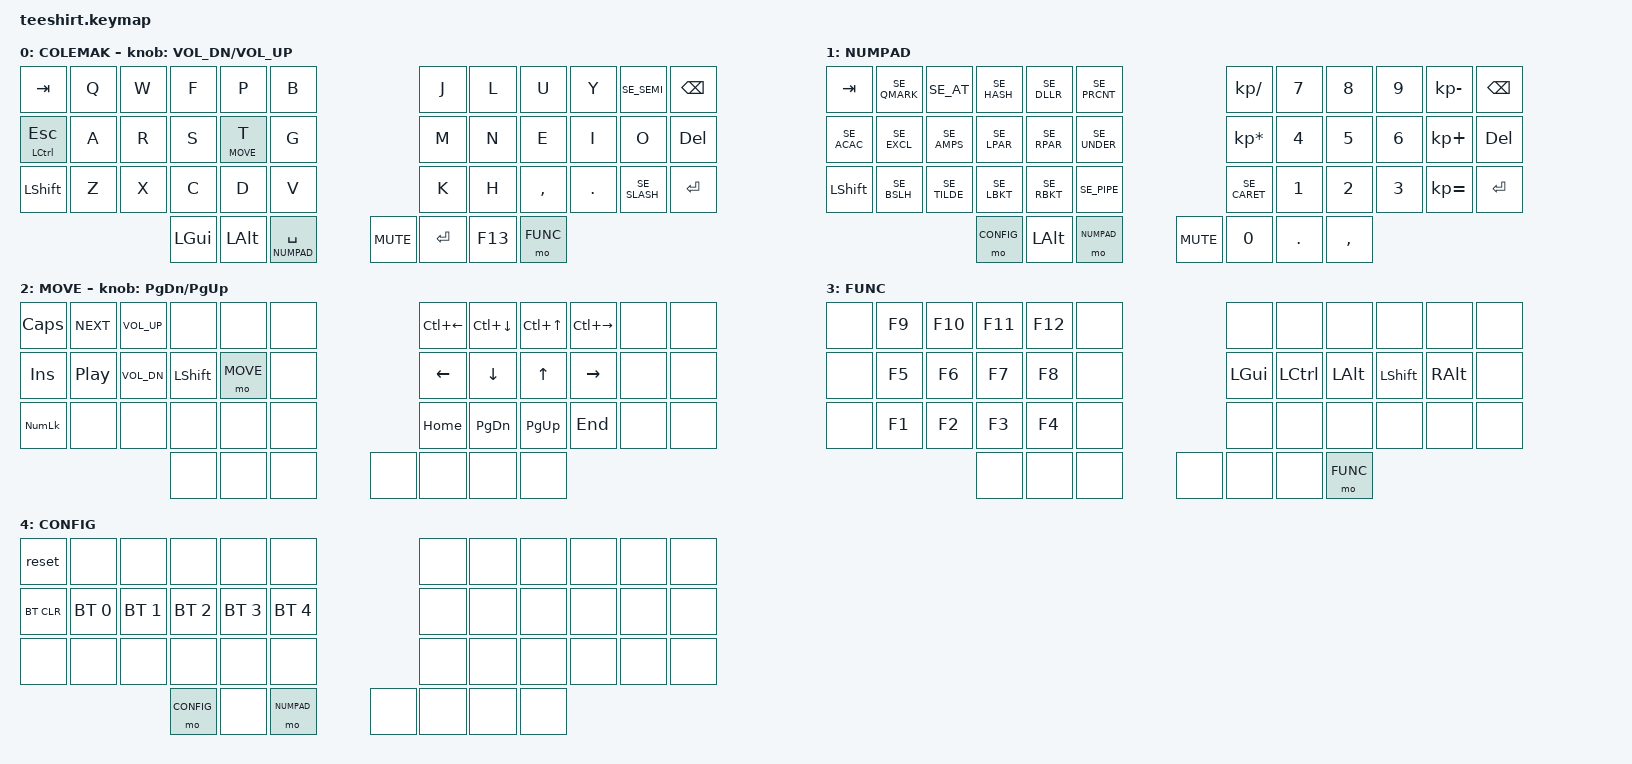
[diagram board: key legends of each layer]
/*
 * Copyright (c) 2020 The ZMK Contributors
 *
 * SPDX-License-Identifier: MIT
 */

#include <behaviors.dtsi>
#include <dt-bindings/zmk/keys.h>
#include <dt-bindings/zmk/bt.h>
#include <dt-bindings/zmk/keymap_swedish.h>

#define COLEMAK 0
#define NUMPAD  1
#define MOVE    2
#define FUNC    3
#define CONFIG  4

/ {
    macros {
        degrees: degrees {
            label = "degrees";
            compatible = "zmk,behavior-macro";
            #binding-cells = <0>;
            bindings
                = <&macro_press &kp LALT>
                , <&macro_tap &kp KP_N0 &kp KP_N1 &kp KP_N7 &kp KP_N6>
                , <&macro_release &kp LALT>
                ;
        };
    };
};
/ {
    combos {
// -----------------------------------------------------------------------------------------
// |  TAB0|  Q1 |  W2 |  F3 |  P4 |  B5 |     |  J6 |  L7  |  U8 |  Y9 |  ;10| BKSP11|
// |CTRL12|  A13|  R14|  S15|  T16|  G17|     |  M18|  N19 |  E20|  I21|  O22| DEL23 |
// |SHFT24|  Z25|  X26|  C27|  D28|  V29|     |  K30|  H31 |  ,32|  .33|  /34| ENT35 |
//                    |GUI36|ALT37|SPC38|ROT39|ENT40|F13 41|FUNC42|
        compatible = "zmk,combos";
        combo_ao {
            timeout-ms = <35>;
            key-positions = <8 9>;
            bindings = <&kp SE_AO>;
        };

        combo_ae {
            timeout-ms = <35>;
            key-positions = <20 21>;
            bindings = <&kp SE_AE>;
        };

        combo_oe {
            timeout-ms = <35>;
            key-positions = <32 33>;
            bindings = <&kp SE_OE>;
        };
        combo_dquote {
            timeout-ms = <35>;
            key-positions = <7 8>;
            bindings = <&kp SE_DQT>;
        };
        combo_quote {
            timeout-ms = <35>;
            key-positions = <19 20>;
            bindings = <&kp SE_SQT>;
        };
        combo_tick {
            timeout-ms = <35>;
            key-positions = <31 32>;
            bindings = <&kp SE_GRAVE>;
        };
        combo_degrees {
            timeout-ms = <35>;
            key-positions = <18 21>;
            bindings = <&degrees>;
        };
        combo_ass {
            timeout-ms = <35>;
            key-positions = <14 15>;
            bindings = <&kp LA(SE_MINUS)>;
        };
        combo_pipe {
            timeout-ms = <35>;
            key-positions = <26 27>;
            bindings = <&kp LC(LS(M))>;
        };
        combo_comment {
            timeout-ms = <35>;
            key-positions = <2 3>;
            bindings = <&kp LC(LS(C))>;
        };
        combo_et {
            timeout-ms = <35>;
            key-positions = <9 20>;
            bindings = <&kp RA(E)>;
        };
        combo_micron {
            timeout-ms = <35>;
            key-positions = <9 18>;
            bindings = <&kp RA(M)>;
        };
    };
};
/ {
        keymap {
                compatible = "zmk,keymap";

                 default_layer {
                         label = "COLEMAK";
// -----------------------------------------------------------------------------------------
// |  TAB |  Q  |  W  |  F  |  P  |  B  |   |  J  |  L   |  U  |  Y  |  ;  | BKSP |
// | CTRL |  A  |  R  |  S  |  T  |  G  |   |  M  |  N   |  E  |  I  |  O  | DEL  |
// | SHFT |  Z  |  X  |  C  |  D  |  V  |   |  K  |  H   |  ,  |  .  |  /  | ENT  |
//                    | GUI |LALT | SPC |ROT| ENT | F13  | FUNC|
                         bindings = <
    &kp TAB        &kp Q &kp W &kp F    &kp P      &kp B                       &kp J     &kp L   &kp U     &kp Y   &kp SE_SEMI   &kp BSPC
    &mt LCTRL ESC  &kp A &kp R &kp S    &lt MOVE T &kp G                       &kp M     &kp N   &kp E     &kp I   &kp O         &kp DEL
    &kp LSHFT      &kp Z &kp X &kp C    &kp D      &kp V                       &kp K     &kp H   &kp COMMA &kp DOT &kp SE_SLASH  &kp ENTER
                               &kp LGUI &kp LALT   &lt NUMPAD SPACE &kp C_MUTE &kp ENTER &kp F13 &mo FUNC 
                         >;
                         sensor-bindings = <&inc_dec_kp C_VOL_DN C_VOL_UP>;
                 };


                numpad_layer {
                        label = "NUMPAD";
// -----------------------------------------------------------------------------------------
// |  TAB |  ?  |  @  |  #  |  $  |  %  |   |  /  |  7   |  8  |  9  |  -  | BKSP |
// |  `   |  !  |  &  |  (  |  )  |  _  |   |  *  |  4   |  5  |  6  |  +  | DEL  |
// | SHFT |  \  |  ~  |  [  |  ]  |  |  |   |  ^  |  1   |  2  |  3  |  =  | ENT  |
//                    |CONF | LWR | SPC |ROT| ENT | RSE  | ALT |
                        bindings = < 
   &kp TAB     &kp SE_QMARK &kp SE_AT    &kp SE_HASH  &kp SE_DLLR &kp SE_PRCNT            &kp KP_SLASH    &kp N7  &kp N8   &kp N9 &kp KP_MINUS &kp BSPC
   &kp SE_ACAC &kp SE_EXCL  &kp SE_AMPS  &kp SE_LPAR &kp SE_RPAR &kp SE_UNDER            &kp KP_ASTERISK &kp N4  &kp N5   &kp N6 &kp KP_PLUS  &kp DEL
   &kp LSHFT   &kp SE_BSLH  &kp SE_TILDE &kp SE_LBKT &kp SE_RBKT &kp SE_PIPE             &kp SE_CARET    &kp N1  &kp N2   &kp N3 &kp KP_EQUAL &kp ENTER
                                         &mo CONFIG  &kp LALT    &mo NUMPAD   &kp C_MUTE &kp N0          &kp DOT &kp COMMA
                        >;
                };

                move_layer {
                        label = "MOVE";
// -----------------------------------------------------------------------------------------
// | CAPS | NEXT| Vol+|     |     |     |   |CLEFT|CDOWN | CUP  |CRIGHT|     |      |
// | INS  | PLAY| Vol-|Shift| MOVE|     |   | LEFT| DOWN |  UP  | RIGHT|     |      |
// | NLCK |     |     |     |     |     |   | HOME| PGDN | PGUP | END  |     |      |
//                    |     |     |     |   |     |      |      |
                        bindings = <
   &kp CAPS    &kp C_NEXT &kp C_VOL_UP  &none     &none     &none        &kp LC(LEFT)   &kp LC(DOWN)   &kp LC(UP) &kp LC(RIGHT) &none  &none
   &kp INS     &kp C_PP   &kp C_VOL_DN  &kp LSHFT &mo MOVE  &none        &kp LEFT       &kp DOWN       &kp UP     &kp RIGHT     &none  &none 
   &kp KP_NLCK &none      &none         &none     &none     &none        &kp HOME       &kp PG_DN      &kp PG_UP  &kp END       &none  &none 
                                        &none     &none     &none &none  &none          &none          &none
                        >;
                        sensor-bindings = <&inc_dec_kp PG_DN PG_UP>;
                };

                func_layer {
                        label = "FUNC";
// -----------------------------------------------------------------------------------------
// |      | F9  | F10 | F11 | F12 |     |   |     |      |      |      |     |      |
// |      | F5  | F7  | F8  | F9  |     |   | LGUI|LCTRL | LALT |LSHIFT|RALT |      |
// |      | F1  | F2  | F2  | F3  |     |   |     |      |      |      |     |      |
//                    |     |     |     |   |     |      |      |
                        bindings = <
   &none   &kp F9  &kp F10  &kp F11   &kp F12 &none       &none    &none     &none     &none     &none    &none 
   &none   &kp F5  &kp F6   &kp F7    &kp F8  &none       &kp LGUI &kp LCTRL &kp LALT  &kp LSHFT &kp RALT &none   
   &none   &kp F1  &kp F2   &kp F3    &kp F4  &none       &none    &none     &none     &none     &none    &none
                            &none     &none   &none &none &none    &none     &mo FUNC
                        >; 
                };

                config_layer {
                        label = "CONFIG";
// -----------------------------------------------------------------------------------------
// |      |     |     |     |     |     |   |     |      |      |      |     |      |
// |BT CLR| BT0 | BT1 | BT2 | BT3 | BT4 |   |     |      |      |      |     |      |
// |      |     |     |     |     |     |   |     |      |      |      |     |      |
//                    |     |     |     |   |     |      |      |
                        bindings = <
   &reset     &none        &none        &none        &none        &none                &none &none   &none &none &none &none 
   &bt BT_CLR &bt BT_SEL 0 &bt BT_SEL 1 &bt BT_SEL 2 &bt BT_SEL 3 &bt BT_SEL 4         &none &none   &none &none &none &none
   &none      &none        &none        &none        &none        &none                &none &none   &none &none &none &none
                                        &mo CONFIG   &none        &mo NUMPAD    &none  &none &none  &none 
                        >;
                };
        };
};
